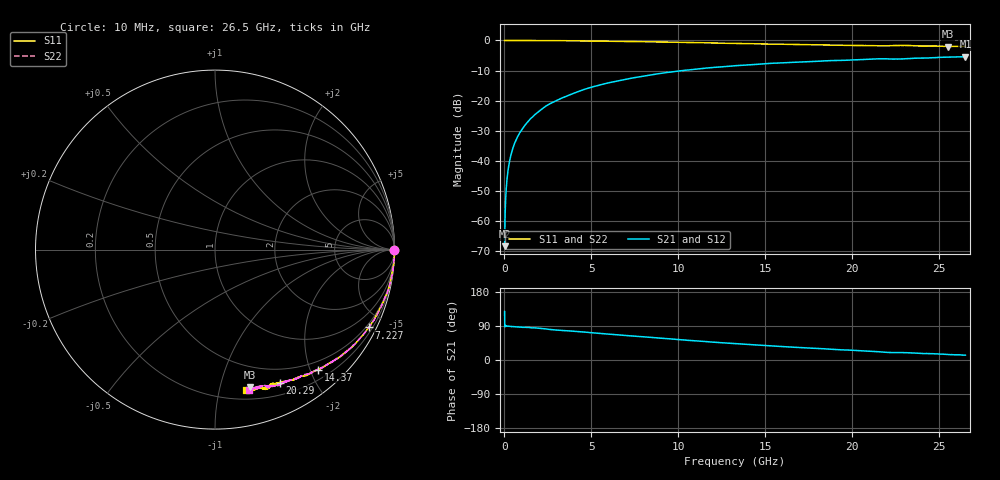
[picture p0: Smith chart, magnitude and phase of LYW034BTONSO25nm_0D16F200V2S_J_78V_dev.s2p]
!Keysight Technologies,N5222B,MY61253708,A.15.00.15
!Date: Wednesday, June 19, 2024 09:23:47
!Correction: S11(C  2-Port  )
!S21(C  2-Port  )
!S12(C  2-Port  )
!S22(C  2-Port  )
!S2P File: Measurements: S11, S21, S12, S22:
# Hz S  RI  R 50
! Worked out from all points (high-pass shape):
!   2651 points, 10 MHz to 26.5 GHz, reference 50 ohm
!   highest |S21| = -5.36 dB at 26.5 GHz (marker M1); lowest = -68.3 dB at 10 MHz (marker M2)
!   |S21| within 3 dB of the highest: 13.3 GHz to end of sweep
!   lowest |S11| = -2.0 dB at 25.5 GHz (marker M3), VSWR 8.56, Z = 15.1 - j61.9 ohm
!   |S11| at or under -10 dB: nowhere
!   |S22| runs from -2.0 to 0.0 dB; largest |S21 - S12| = 0.0069
!   S11 on the Smith chart (normalised r, x): 10 MHz: open; 7.227 GHz: 0.37, -4.16; 14.37 GHz: 0.35, -2.13; 20.29 GHz: 0.33, -1.55; 26.5 GHz: 0.28, -1.21
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1e7  0.9986 -0.00253  -0.000237 0.000305  -0.000383 0.000243  0.9989 -0.00102
6.997736e7  1 -0.00524  -1.38e-05 0.00232  1.87e-05 0.00238  0.9997 -0.0048
1.599434e8  0.9998 -0.0116  6.95e-05 0.0054  5.63e-05 0.00542  0.9996 -0.0108
2.099245e8  0.9996 -0.0146  0.000118 0.00707  0.000108 0.00711  0.9994 -0.0138
2.699019e8  0.9996 -0.0189  0.000114 0.00907  0.000146 0.00916  0.9999 -0.0179
3.698642e8  0.9995 -0.0259  0.000329 0.0125  0.00031 0.0125  0.9993 -0.0249
5.098113e8  0.9989 -0.0347  0.000606 0.0171  0.000593 0.0172  0.9992 -0.0338
8.596792e8  0.9979 -0.0582  0.00162 0.0287  0.00164 0.0289  0.9975 -0.0575
1.469449e9  0.9902 -0.1005  0.00395 0.0493  0.00398 0.0496  0.993 -0.0961
2.349117e9  0.981 -0.1551  0.0106 0.0795  0.0108 0.0801  0.9825 -0.1547
3.208792e9  0.9691 -0.2104  0.0218 0.1054  0.0221 0.1061  0.9696 -0.2089
4.428332e9  0.9403 -0.284  0.0396 0.1433  0.0402 0.1444  0.9426 -0.2804
7.227275e9  0.857 -0.4335  0.1036 0.2102  0.1052 0.2111  0.8591 -0.4315
8.846664e9  0.797 -0.5061  0.1483 0.2382  0.15 0.239  0.7998 -0.5033
1.3255e10  0.6187 -0.6442  0.2767 0.2607  0.2793 0.2605  0.6244 -0.6419
1.437458e10  0.5759 -0.6683  0.306 0.2566  0.3082 0.2564  0.5812 -0.6636
1.767333e10  0.4454 -0.7206  0.3825 0.2312  0.3863 0.2294  0.4584 -0.718
2.029234e10  0.3605 -0.7431  0.4325 0.2031  0.4358 0.2003  0.378 -0.7446
2.209166e10  0.3108 -0.7509  0.4641 0.1682  0.4661 0.1649  0.3073 -0.7576
2.308129e10  0.2819 -0.779  0.469 0.1639  0.4701 0.1626  0.2844 -0.7605
2.550038e10  0.1929 -0.7668  0.5122 0.1309  0.5139 0.1305  0.2154 -0.7712
2.65e10  0.174 -0.7815  0.5257 0.1199  0.5252 0.1158  0.1889 -0.7811
